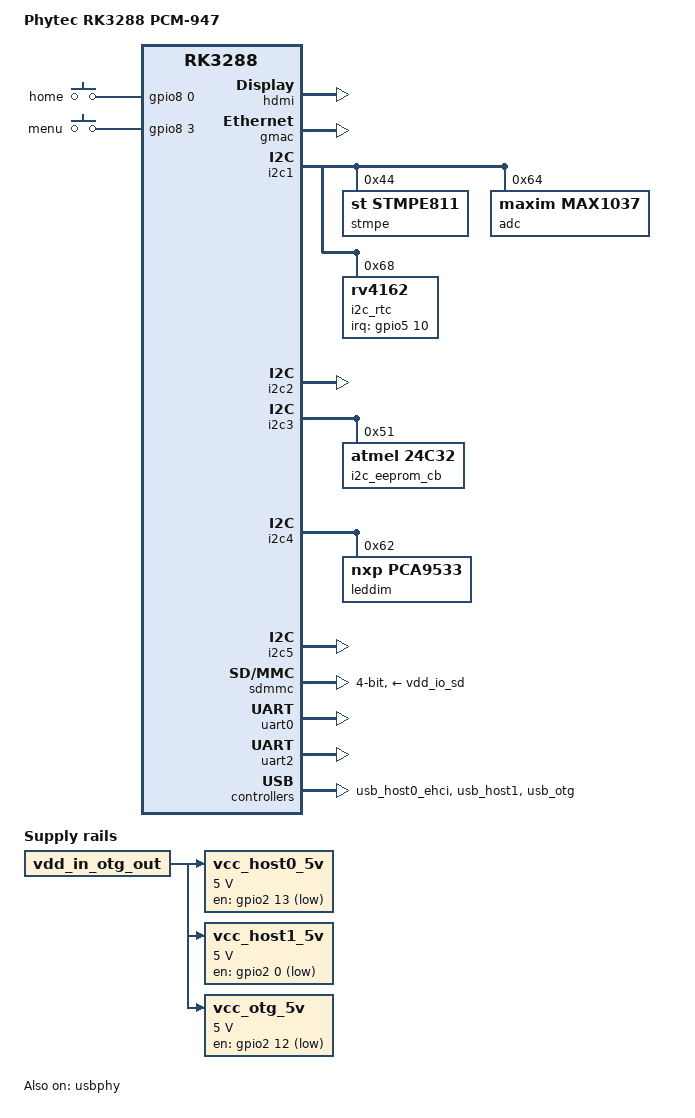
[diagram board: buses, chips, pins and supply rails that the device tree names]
/*
 * Copyright (C) 2016 PHYTEC Messtechnik GmbH
 * Author: Wadim Egorov <w.egorov@phytec.de>
 *
 * This program is free software; you can redistribute it and/or modify
 * it under the terms of the GNU General Public License version 2 as
 * published by the Free Software Foundation.
 */

/dts-v1/;

#include <dt-bindings/input/input.h>
#include <dt-bindings/leds/leds-pca9532.h>
#include "rk3288-phycore-som.dtsi"

/ {
	model = "Phytec RK3288 PCM-947";
	compatible = "phytec,rk3288-pcm-947", "phytec,rk3288-phycore-som", "rockchip,rk3288";

	vcc_host0_5v: usb-host0-regulator {
		compatible = "regulator-fixed";
	};

	vcc_host1_5v: usb-host1-regulator {
		compatible = "regulator-fixed";
	};

	vcc_otg_5v: usb-otg-regulator {
		compatible = "regulator-fixed";
	};

	lvds_panel: lvds-panel {
		compatible = "edt,etm0700g0dh6", "simple-panel";
	};

	backlight: backlight {
		compatible = "gpio-backlight";
	};

	user_buttons: user-buttons {
		compatible = "gpio-keys";
	};
};

/* Display & Video */
&pinctrl {
	display_enable {
		disp_en_pin: disp_en_pin {
			rockchip,pins = <6 6 RK_FUNC_GPIO &pcfg_pull_up>;
		};

		bl_pin: bl-pin {
			rockchip,pins = <7 0 RK_FUNC_GPIO &pcfg_pull_up>;
		};
	};
};

&backlight {
	status = "disabled";
	pinctrl-names = "default";
	pinctrl-0 = <&bl_pin>;
	gpios = <&gpio7 0 GPIO_ACTIVE_HIGH>;
	default-on;
};

&lvds {
	status = "disabled";
	rockchip,data-mapping = "jeida";
	rockchip,data-width = <24>;
	rockchip,output = "lvds";
	rockchip,panel = <&lvds_panel>;
	avdd1v0-supply = <&vdd_1v0>;
	avdd1v8-supply = <&vdd_1v8_lcd_ldo>;
	avdd3v3-supply = <&vdd_3v3_io>;
};

&lvds_panel {
	status = "disabled";
	pinctrl-names = "default";
	pinctrl-0 = <&disp_en_pin>;
	enable-gpios = <&gpio6 6 GPIO_ACTIVE_HIGH>;
	power-supply = <&vdd_1v8_lcd_ldo>;
	backlight = <&backlight>;
};

&hdmi {
	status = "okay";
};

/* Ethernet */
&gmac {
	status = "okay";
};

/* I2C Busses */
&pinctrl {
	touchscreen {
		ts_irq_pin: ts-irq-pin {
			rockchip,pins = <5 15 RK_FUNC_GPIO &pcfg_pull_none>;
		};
	};

	rv4162 {
		i2c_rtc_int: i2c-rtc-int {
			rockchip,pins = <5 10 RK_FUNC_GPIO &pcfg_pull_up>;
		};
	};
};

&i2c1 {
	status = "okay";

	stmpe@44 {
		compatible = "st,stmpe811";
		reg = <0x44>;
	};

	adc@64 {
		compatible = "maxim,max1037";
		reg = <0x64>;
	};

	i2c_rtc: rtc@68 {
		compatible = "rv4162";
		reg = <0x68>;
		pinctrl-names = "default";
		pinctrl-0 = <&i2c_rtc_int>;
		interrupt-parent = <&gpio5>;
		interrupts = <10 0>;
	};
};

&i2c2 {
	status = "okay";

	i2c_ts: touchscreen@38 {
		compatible = "edt,edt-ft5x06";
		reg = <0x38>;
		pinctrl-names = "default";
		pinctrl-0 = <&ts_irq_pin>;
		interrupt-parent = <&gpio5>;
		interrupts = <15 0>;
		status = "disabled";
	};
};

&i2c3 {
	status = "okay";

	i2c_eeprom_cb: eeprom@51 {
		compatible = "atmel,24c32";
		pagesize = <32>;
		reg = <0x51>;
	};
};

&i2c4 {
	status = "okay";

	/* PCA9533 - 4-bit LED dimmer */
	leddim: leddimmer@62 {
		compatible = "nxp,pca9533";
		reg = <0x62>;

		led1 {
			label = "red:user1";
			linux,default-trigger = "none";
			type = <PCA9532_TYPE_LED>;
		};

		led2 {
			label = "green:user2";
			linux,default-trigger = "none";
			type = <PCA9532_TYPE_LED>;
		};

		led3 {
			label = "blue:user3";
			linux,default-trigger = "none";
			type = <PCA9532_TYPE_LED>;
		};

		led4 {
			label = "red:user4";
			linux,default-trigger = "none";
			type = <PCA9532_TYPE_LED>;
		};
	};
};

&i2c5 {
	status = "okay";
};

/* MMC */
&pinctrl {
	pcfg_pull_up_drv_12ma: pcfg-pull-up-drv-12ma {
		bias-pull-up;
		drive-strength = <12>;
	};

	sdmmc {
		/*
		* Default drive strength isn't enough to achieve even
		* high-speed mode on pcm-947 board so bump up to 12 mA.
		*/
		sdmmc_bus4: sdmmc-bus4 {
			rockchip,pins = <6 16 RK_FUNC_1 &pcfg_pull_up_drv_12ma>,
					<6 17 RK_FUNC_1 &pcfg_pull_up_drv_12ma>,
					<6 18 RK_FUNC_1 &pcfg_pull_up_drv_12ma>,
					<6 19 RK_FUNC_1 &pcfg_pull_up_drv_12ma>;
		};

		sdmmc_clk: sdmmc-clk {
			rockchip,pins = <6 20 RK_FUNC_1 &pcfg_pull_none_12ma>;
		};

		sdmmc_cmd: sdmmc-cmd {
			rockchip,pins = <6 21 RK_FUNC_1 &pcfg_pull_up_drv_12ma>;
		};

		sdmmc_pwr: sdmmc-pwr {
			rockchip,pins = <7 11 RK_FUNC_GPIO &pcfg_pull_none>;
		};
	};
};

&sdmmc {
	status = "okay";
	bus-width = <4>;
	cap-mmc-highspeed;
	cap-sd-highspeed;
	card-detect-delay = <200>;
	disable-wp;
	num-slots = <1>;
	pinctrl-names = "default";
	pinctrl-0 = <&sdmmc_clk &sdmmc_cmd &sdmmc_cd &sdmmc_bus4>;
	vmmc-supply = <&vdd_io_sd>;
	vqmmc-supply = <&vdd_io_sd>;
};

/* Power */
&vcc_host0_5v {
	gpio = <&gpio2 13 GPIO_ACTIVE_HIGH>;
	pinctrl-names = "default";
	pinctrl-0 = <&host0_vbus_drv>;
	regulator-name = "vcc_host0_5v";
	regulator-min-microvolt = <5000000>;
	regulator-max-microvolt = <5000000>;
	regulator-always-on;
	vin-supply = <&vdd_in_otg_out>;
};

&vcc_host1_5v {
	gpio = <&gpio2 0 GPIO_ACTIVE_HIGH>;
	pinctrl-names = "default";
	pinctrl-0 = <&host1_vbus_drv>;
	regulator-name = "vcc_host1_5v";
	regulator-min-microvolt = <5000000>;
	regulator-max-microvolt = <5000000>;
	regulator-always-on;
	vin-supply = <&vdd_in_otg_out>;
};

&vcc_otg_5v {
	gpio = <&gpio2 12 GPIO_ACTIVE_HIGH>;
	pinctrl-names = "default";
	pinctrl-0 = <&otg_vbus_drv>;
	regulator-name = "vcc_otg_5v";
	regulator-min-microvolt = <5000000>;
	regulator-max-microvolt = <5000000>;
	regulator-always-on;
	vin-supply = <&vdd_in_otg_out>;
};

/* UART */
&uart0 {
	status = "okay";
	pinctrl-names = "default";
	pinctrl-0 = <&uart0_xfer &uart0_cts &uart0_rts>;
};

&uart2 {
	status = "okay";
};

/* USB */
&pinctrl {
	usb_host {
		host0_vbus_drv: host0-vbus-drv {
			rockchip,pins = <2 13 RK_FUNC_GPIO &pcfg_pull_none>;
		};

		host1_vbus_drv: host1-vbus-drv {
			rockchip,pins = <2 0 RK_FUNC_GPIO &pcfg_pull_none>;
		};
	};

	usb_otg {
		otg_vbus_drv: otg-vbus-drv {
			rockchip,pins = <2 12 RK_FUNC_GPIO &pcfg_pull_none>;
		};
	};
};

&usbphy {
	status = "okay";
};

&usb_host0_ehci {
	status = "okay";
};

&usb_host1 {
	status = "okay";
};

&usb_hsic {
	status = "disabled";
};

&usb_otg {
	status = "okay";
};

/* User IO */
&pinctrl {
	buttons {
		user_button_pins: user-button-pins {
			/* button 1 */
			rockchip,pins = <8 3 RK_FUNC_GPIO &pcfg_pull_up>,
			/* button 2 */
					<8 0 RK_FUNC_GPIO &pcfg_pull_up>;
		};
	};
};

&user_buttons {
	pinctrl-names = "default";
	pinctrl-0 = <&user_button_pins>;

	button@0 {
		label = "home";
		linux,code = <KEY_HOME>;
		gpios = <&gpio8 0 GPIO_ACTIVE_HIGH>;
		wakeup-source;
	};

	button@1 {
		label = "menu";
		linux,code = <KEY_MENU>;
		gpios = <&gpio8 3 GPIO_ACTIVE_HIGH>;
		wakeup-source;
	};
};
